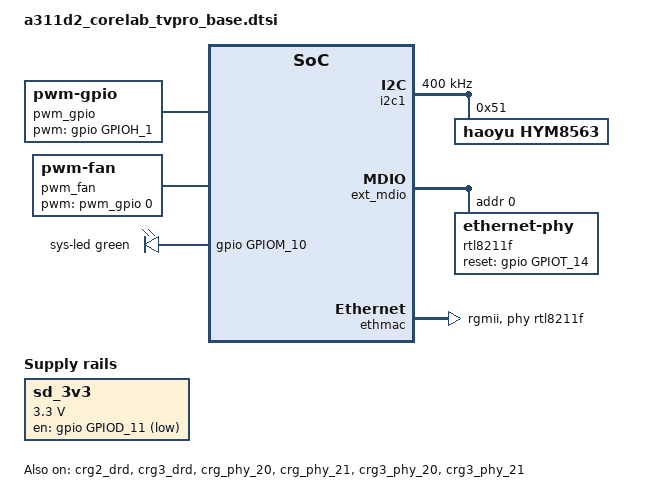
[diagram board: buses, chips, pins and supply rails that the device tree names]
#include <dt-bindings/leds/common.h>

/ {
	aliases {
		rtc0 = &hym8563;
	};

	auge_sound {
		avout_mute-gpios = <&gpio GPIOT_23 GPIO_ACTIVE_HIGH>;
	};

	regulator-sd-3v3 {
		compatible = "regulator-fixed";
		regulator-name = "sd_3v3";
		regulator-min-microvolt = <3300000>;
		regulator-max-microvolt = <3300000>;
		gpio = <&gpio GPIOD_11 GPIO_ACTIVE_LOW>;
		regulator-boot-on;
		enable-active-low;
		regulator-always-on;
	};

	gpio_keypad {
		key-gpios = <&gpio GPIOD_4 GPIO_ACTIVE_HIGH>;
	};

	/* from t7_a311d2_an400_drm_hdmitx_only_debian */
	/delete-node/ adc_keypad;
	/* from coreelec_t7_common */
	/delete-node/ emmc_pwrseq;
	/delete-node/ vcc5v_reg;
	/delete-node/ sd_3v3;
	/delete-node/ vddio_c;

	pwm_gpio: pwm-gpio {
		compatible = "pwm-gpio";
		#pwm-cells = <3>;
		pwm-gpios = <&gpio GPIOH_1 GPIO_ACTIVE_HIGH>;
	};

	pwm_fan: pwm-fan {
		compatible = "pwm-fan";
		pwms = <&pwm_gpio 0 40000 1>;
		cooling-min-state = <0>;
		cooling-max-state = <3>;
		#cooling-cells = <2>;
		cooling-levels = <0 120 170 220>;
	};

	gpio-leds {
		compatible = "gpio-leds";

		sys-led {
			function = LED_FUNCTION_STATUS;
			color = <LED_COLOR_ID_GREEN>;
			gpios = <&gpio GPIOM_10 GPIO_ACTIVE_HIGH>;
			linux,default-trigger = "heartbeat";
		};
	};
};

/* RJ45 Side USB Type-A */
&crg_udc_2 {
	status = "disabled";
};

/* DC Side USB Type-A */
&crg_udc_3 {
	status = "disabled";
};

/* DC Side USB Type-A */
&crg20_otg {
	status = "disabled";
	controller-type = <2>;
};

/* RJ45 Side USB Type-A */
&crg21_otg {
	status = "disabled";
	controller-type = <2>;
};

/* RJ45 Side USB Type-A */
&crg2_drd {
	/* compatible = "amlogic, crg-drd"; */
	compatible = "amlogic, crg-host-drd";
	status = "okay";
};

/* DC Side USB Type-A */
&crg3_drd {
	/* compatible = "amlogic, crg-drd"; */
	compatible = "amlogic, crg-host-drd";
	status = "okay";
};

&crg_phy_20 {
	status = "okay";
	portnum = <1>;
	gpio-vbus-power = "GPIOH_4";
	gpios = <&gpio GPIOH_4 GPIO_ACTIVE_HIGH>;
};

&crg_phy_21 {
	status = "okay";
	portnum = <1>;
	gpio-vbus-power = "GPIOH_5";
	gpios = <&gpio GPIOH_5 GPIO_ACTIVE_HIGH>;
};

&crg3_phy_20 {
	status = "okay";
	portnum = <1>;
};

/*
 * On the A311D2, this Corigine USB module only exposes USB 2.0,
 * which can be used for firmware download during BootROM.
 * Therefore, the port number (portnum) for USB 3.0 is 0.
 */
&crg3_phy_21 {
	status = "okay";
	portnum = <0>;
};

&i2c1 {
	status = "okay";
	pinctrl-names = "default";
	pinctrl-0 = <&i2c1_pins1>;
	clock-frequency = <400000>;

	hym8563: rtc@51 {
		compatible = "haoyu,hym8563";
		reg = <0x51>;
		#clock-cells = <0>;
	};
};

&i2c2 {
	status = "disabled";
};

&i2c5 {
	status = "disabled";
};

&ext_mdio {
	rtl8211f: ethernet-phy@0 {
		reg = <0>;
		max-speed = <1000>;
		reset-assert-us = <20000>;
		reset-deassert-us = <50000>;
		reset-gpios = <&gpio GPIOT_14 GPIO_ACTIVE_HIGH>;
	};
};

&ethmac {
	pinctrl-0 = <&eth_pins>, <&eth_rgmii_pins>;
	pinctrl-names = "default";
	status = "okay";
	phy-mode = "rgmii";
	phy-handle = <&rtl8211f>;
	internal_phy = <2>;
	mc_val = <0x1621>;
	cali_val = <0xa0000>;
	amlogic,tx-delay-ns = <2>;
};

&sd_emmc_c {
	/* from coreelec_t7_common */
	/delete-property/ mmc-pwrseq;
};

&saradc {
	status = "disabled";
};

&pwm_ef {
	status = "disabled";
};
